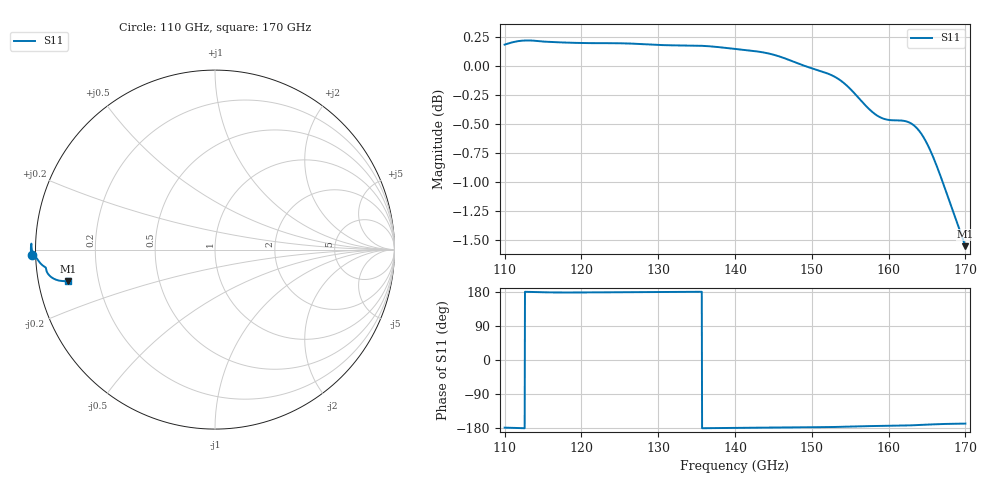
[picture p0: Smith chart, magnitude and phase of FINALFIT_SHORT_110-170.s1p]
! Generated by Phase I extraction
# Hz S RI R 50
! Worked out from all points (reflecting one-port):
!   1471 points, 110 GHz to 170 GHz, reference 50 ohm
!   lowest |S11| = -1.6 dB at 170 GHz (marker M1), VSWR 11.22, Z = 4.51 - j5.29 ohm
!   phase of S11 starts at -178 deg and turns +11 deg over the sweep
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1.1e11  -1.021 -0.0275
1.123673e11  -1.026 -0.00232
1.150612e11  -1.025 0.0246
1.162449e11  -1.024 0.0301
1.175102e11  -1.023 0.0329
1.200408e11  -1.023 0.0312
1.250204e11  -1.023 0.0199
1.29102e11  -1.022 0.00854
1.325306e11  -1.021 0.00523
1.351837e11  -1.021 0.00134
1.4e11  -1.017 -0.0135
1.442041e11  -1.013 -0.0269
1.475102e11  -1.004 -0.0397
1.520816e11  -0.9915 -0.051
1.533878e11  -0.986 -0.059
1.550204e11  -0.9749 -0.0738
1.568571e11  -0.9587 -0.0893
1.585714e11  -0.947 -0.0969
1.608163e11  -0.9419 -0.1047
1.616735e11  -0.941 -0.1108
1.625306e11  -0.9386 -0.1196
1.634694e11  -0.9326 -0.1316
1.643673e11  -0.9228 -0.144
1.653061e11  -0.9084 -0.1561
1.66449e11  -0.8867 -0.1673
1.678776e11  -0.8579 -0.1743
1.697143e11  -0.8228 -0.1762
1.7e11  -0.8175 -0.1762
